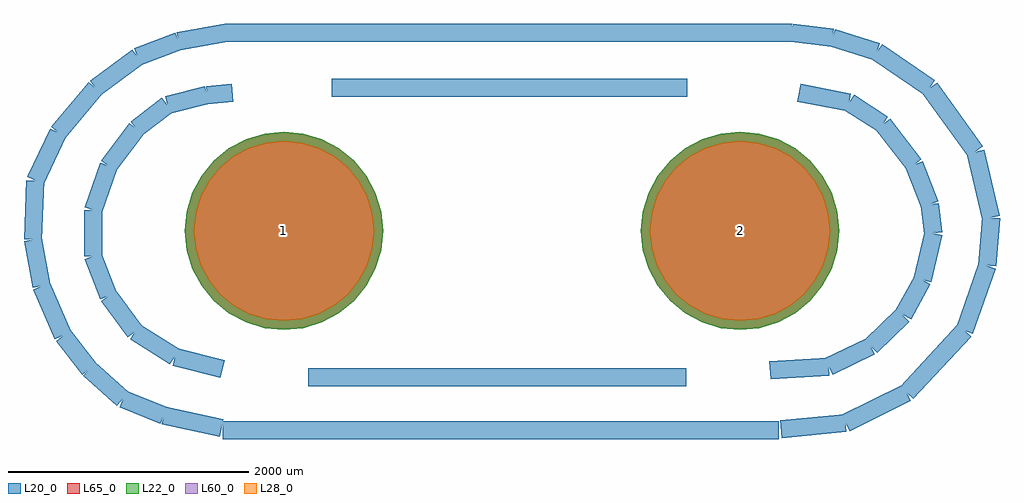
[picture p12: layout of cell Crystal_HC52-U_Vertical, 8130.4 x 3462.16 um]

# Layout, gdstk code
import gdstk
lib = gdstk.Library(unit=1e-6, precision=1e-09)
def P(c, l, *ps):  # polygons
    for p in ps: c.add(gdstk.Polygon(p, *l))
L20_0 = (20, 0)
L22_0 = (22, 0)
L28_0 = (28, 0)
L60_0 = (60, 0)
L65_0 = (65, 0)

crystal_hc52_u_vertical = lib.new_cell('Crystal_HC52-U_Vertical')
P(crystal_hc52_u_vertical, L22_0, [(2725.49,0),(2709.627,161.061),(2662.647,315.932),(2586.356,458.662),(2483.686,583.766),(2358.582,686.436),(2215.852,762.727),(2060.981,809.707),(1899.92,825.57),(1738.859,809.707),(1583.988,762.727),(1441.258,686.436),(1316.154,583.766),(1213.484,458.662),(1137.193,315.932),(1090.213,161.061),(1074.35,0),(1090.213,-161.061),(1137.193,-315.932),(1213.484,-458.662),(1316.154,-583.766),(1441.258,-686.436),(1583.988,-762.727),(1738.859,-809.707),(1899.92,-825.57),(2060.981,-809.707),(2215.852,-762.727),(2358.582,-686.436),(2483.686,-583.766),(2586.356,-458.662),(2662.647,-315.932),(2709.627,-161.061)],
  [(-1074.35,0),(-1090.213,161.061),(-1137.193,315.932),(-1213.484,458.662),(-1316.154,583.766),(-1441.258,686.436),(-1583.988,762.727),(-1738.859,809.707),(-1899.92,825.57),(-2060.981,809.707),(-2215.852,762.727),(-2358.582,686.436),(-2483.686,583.766),(-2586.356,458.662),(-2662.647,315.932),(-2709.627,161.061),(-2725.49,0),(-2709.627,-161.061),(-2662.647,-315.932),(-2586.356,-458.662),(-2483.686,-583.766),(-2358.582,-686.436),(-2215.852,-762.727),(-2060.981,-809.707),(-1899.92,-825.57),(-1738.859,-809.707),(-1583.988,-762.727),(-1441.258,-686.436),(-1316.154,-583.766),(-1213.484,-458.662),(-1137.193,-315.932),(-1090.213,-161.061)])
P(crystal_hc52_u_vertical, L28_0, [(2650.49,0),(2636.068,146.429),(2593.356,287.231),(2523.996,416.994),(2430.653,530.733),(2316.914,624.076),(2187.151,693.436),(2046.349,736.148),(1899.92,750.57),(1753.491,736.148),(1612.689,693.436),(1482.926,624.076),(1369.187,530.733),(1275.844,416.994),(1206.484,287.231),(1163.772,146.429),(1149.35,0),(1163.772,-146.429),(1206.484,-287.231),(1275.844,-416.994),(1369.187,-530.733),(1482.926,-624.076),(1612.689,-693.436),(1753.491,-736.148),(1899.92,-750.57),(2046.349,-736.148),(2187.151,-693.436),(2316.914,-624.076),(2430.653,-530.733),(2523.996,-416.994),(2593.356,-287.231),(2636.068,-146.429)],
  [(-1149.35,0),(-1163.772,146.429),(-1206.484,287.231),(-1275.844,416.994),(-1369.187,530.733),(-1482.926,624.076),(-1612.689,693.436),(-1753.491,736.148),(-1899.92,750.57),(-2046.349,736.148),(-2187.151,693.436),(-2316.914,624.076),(-2430.653,530.733),(-2523.996,416.994),(-2593.356,287.231),(-2636.068,146.429),(-2650.49,0),(-2636.068,-146.429),(-2593.356,-287.231),(-2523.996,-416.994),(-2430.653,-530.733),(-2316.914,-624.076),(-2187.151,-693.436),(-2046.349,-736.148),(-1899.92,-750.57),(-1753.491,-736.148),(-1612.689,-693.436),(-1482.926,-624.076),(-1369.187,-530.733),(-1275.844,-416.994),(-1206.484,-287.231),(-1163.772,-146.429)])
P(crystal_hc52_u_vertical, L60_0, [(2650.49,0),(2636.068,146.429),(2593.356,287.231),(2523.996,416.994),(2430.653,530.733),(2316.914,624.076),(2187.151,693.436),(2046.349,736.148),(1899.92,750.57),(1753.491,736.148),(1612.689,693.436),(1482.926,624.076),(1369.187,530.733),(1275.844,416.994),(1206.484,287.231),(1163.772,146.429),(1149.35,0),(1163.772,-146.429),(1206.484,-287.231),(1275.844,-416.994),(1369.187,-530.733),(1482.926,-624.076),(1612.689,-693.436),(1753.491,-736.148),(1899.92,-750.57),(2046.349,-736.148),(2187.151,-693.436),(2316.914,-624.076),(2430.653,-530.733),(2523.996,-416.994),(2593.356,-287.231),(2636.068,-146.429)],
  [(-1149.35,0),(-1163.772,146.429),(-1206.484,287.231),(-1275.844,416.994),(-1369.187,530.733),(-1482.926,624.076),(-1612.689,693.436),(-1753.491,736.148),(-1899.92,750.57),(-2046.349,736.148),(-2187.151,693.436),(-2316.914,624.076),(-2430.653,530.733),(-2523.996,416.994),(-2593.356,287.231),(-2636.068,146.429),(-2650.49,0),(-2636.068,-146.429),(-2593.356,-287.231),(-2523.996,-416.994),(-2430.653,-530.733),(-2316.914,-624.076),(-2187.151,-693.436),(-2046.349,-736.148),(-1899.92,-750.57),(-1753.491,-736.148),(-1612.689,-693.436),(-1482.926,-624.076),(-1369.187,-530.733),(-1275.844,-416.994),(-1206.484,-287.231),(-1163.772,-146.429)])
P(crystal_hc52_u_vertical, L65_0, [(2725.49,0),(2709.627,161.061),(2662.647,315.932),(2586.356,458.662),(2483.686,583.766),(2358.582,686.436),(2215.852,762.727),(2060.981,809.707),(1899.92,825.57),(1738.859,809.707),(1583.988,762.727),(1441.258,686.436),(1316.154,583.766),(1213.484,458.662),(1137.193,315.932),(1090.213,161.061),(1074.35,0),(1090.213,-161.061),(1137.193,-315.932),(1213.484,-458.662),(1316.154,-583.766),(1441.258,-686.436),(1583.988,-762.727),(1738.859,-809.707),(1899.92,-825.57),(2060.981,-809.707),(2215.852,-762.727),(2358.582,-686.436),(2483.686,-583.766),(2586.356,-458.662),(2662.647,-315.932),(2709.627,-161.061)],
  [(-1074.35,0),(-1090.213,161.061),(-1137.193,315.932),(-1213.484,458.662),(-1316.154,583.766),(-1441.258,686.436),(-1583.988,762.727),(-1738.859,809.707),(-1899.92,825.57),(-2060.981,809.707),(-2215.852,762.727),(-2358.582,686.436),(-2483.686,583.766),(-2586.356,458.662),(-2662.647,315.932),(-2709.627,161.061),(-2725.49,0),(-2709.627,-161.061),(-2662.647,-315.932),(-2586.356,-458.662),(-2483.686,-583.766),(-2358.582,-686.436),(-2215.852,-762.727),(-2060.981,-809.707),(-1899.92,-825.57),(-1738.859,-809.707),(-1583.988,-762.727),(-1441.258,-686.436),(-1316.154,-583.766),(-1213.484,-458.662),(-1137.193,-315.932),(-1090.213,-161.061)])
crystal_hc52_u_vertical.add(gdstk.FlexPath([(-2778.76,1579.88),(-2379.98,1651)], 149.998, ends="flush", simple_path=True, layer=20, datatype=0))  # L20_0
crystal_hc52_u_vertical.add(gdstk.FlexPath([(-3119.12,1450.34),(-2778.76,1579.88)], 149.998, ends="flush", simple_path=True, layer=20, datatype=0))  # L20_0
crystal_hc52_u_vertical.add(gdstk.FlexPath([(-3469.64,1191.26),(-3119.12,1450.34)], 149.998, ends="flush", simple_path=True, layer=20, datatype=0))  # L20_0
crystal_hc52_u_vertical.add(gdstk.FlexPath([(-3779.52,820.42),(-3469.64,1191.26)], 149.998, ends="flush", simple_path=True, layer=20, datatype=0))  # L20_0
crystal_hc52_u_vertical.add(gdstk.FlexPath([(-3970.02,419.1),(-3779.52,820.42)], 149.998, ends="flush", simple_path=True, layer=20, datatype=0))  # L20_0
crystal_hc52_u_vertical.add(gdstk.FlexPath([(-3990.34,-71.12),(-3970.02,419.1)], 149.998, ends="flush", simple_path=True, layer=20, datatype=0))  # L20_0
crystal_hc52_u_vertical.add(gdstk.FlexPath([(-3919.22,-459.74),(-3990.34,-71.12)], 149.998, ends="flush", simple_path=True, layer=20, datatype=0))  # L20_0
crystal_hc52_u_vertical.add(gdstk.FlexPath([(-3738.88,-871.22),(-3919.22,-459.74)], 149.998, ends="flush", simple_path=True, layer=20, datatype=0))  # L20_0
crystal_hc52_u_vertical.add(gdstk.FlexPath([(-3520.44,-1150.62),(-3738.88,-871.22)], 149.998, ends="flush", simple_path=True, layer=20, datatype=0))  # L20_0
crystal_hc52_u_vertical.add(gdstk.FlexPath([(-3241.04,-1399.54),(-3520.44,-1150.62)], 149.998, ends="flush", simple_path=True, layer=20, datatype=0))  # L20_0
crystal_hc52_u_vertical.add(gdstk.FlexPath([(-2900.68,-1539.24),(-3241.04,-1399.54)], 149.998, ends="flush", simple_path=True, layer=20, datatype=0))  # L20_0
crystal_hc52_u_vertical.add(gdstk.FlexPath([(-2420.62,-1640.84),(-2900.68,-1539.24)], 149.998, ends="flush", simple_path=True, layer=20, datatype=0))  # L20_0
crystal_hc52_u_vertical.add(gdstk.FlexPath([(2778.76,-1600.2),(2240.28,-1651)], 149.998, ends="flush", simple_path=True, layer=20, datatype=0))  # L20_0
crystal_hc52_u_vertical.add(gdstk.FlexPath([(3289.3,-1348.74),(2778.76,-1600.2)], 149.998, ends="flush", simple_path=True, layer=20, datatype=0))  # L20_0
crystal_hc52_u_vertical.add(gdstk.FlexPath([(3769.36,-830.58),(3289.3,-1348.74)], 149.998, ends="flush", simple_path=True, layer=20, datatype=0))  # L20_0
crystal_hc52_u_vertical.add(gdstk.FlexPath([(3959.86,-289.56),(3769.36,-830.58)], 149.998, ends="flush", simple_path=True, layer=20, datatype=0))  # L20_0
crystal_hc52_u_vertical.add(gdstk.FlexPath([(3990.34,109.22),(3959.86,-289.56)], 149.998, ends="flush", simple_path=True, layer=20, datatype=0))  # L20_0
crystal_hc52_u_vertical.add(gdstk.FlexPath([(3860.8,660.4),(3990.34,109.22)], 149.998, ends="flush", simple_path=True, layer=20, datatype=0))  # L20_0
crystal_hc52_u_vertical.add(gdstk.FlexPath([(3479.8,1191.26),(3860.8,660.4)], 149.998, ends="flush", simple_path=True, layer=20, datatype=0))  # L20_0
crystal_hc52_u_vertical.add(gdstk.FlexPath([(3040.38,1490.98),(3479.8,1191.26)], 149.998, ends="flush", simple_path=True, layer=20, datatype=0))  # L20_0
crystal_hc52_u_vertical.add(gdstk.FlexPath([(2669.54,1610.36),(3040.38,1490.98)], 149.998, ends="flush", simple_path=True, layer=20, datatype=0))  # L20_0
crystal_hc52_u_vertical.add(gdstk.FlexPath([(2329.18,1651),(2669.54,1610.36)], 149.998, ends="flush", simple_path=True, layer=20, datatype=0))  # L20_0
crystal_hc52_u_vertical.add(gdstk.FlexPath([(-2390.14,1651),(2329.18,1651)], 149.998, ends="flush", simple_path=True, layer=20, datatype=0))  # L20_0
crystal_hc52_u_vertical.add(gdstk.FlexPath([(-2540,1130.3),(-2329.18,1150.62)], 149.998, ends="flush", simple_path=True, layer=20, datatype=0))  # L20_0
crystal_hc52_u_vertical.add(gdstk.FlexPath([(-2870.2,1049.02),(-2540,1130.3)], 149.998, ends="flush", simple_path=True, layer=20, datatype=0))  # L20_0
crystal_hc52_u_vertical.add(gdstk.FlexPath([(-3129.28,850.9),(-2870.2,1049.02)], 149.998, ends="flush", simple_path=True, layer=20, datatype=0))  # L20_0
crystal_hc52_u_vertical.add(gdstk.FlexPath([(-3360.42,541.02),(-3129.28,850.9)], 149.998, ends="flush", simple_path=True, layer=20, datatype=0))  # L20_0
crystal_hc52_u_vertical.add(gdstk.FlexPath([(-3489.96,170.18),(-3360.42,541.02)], 149.998, ends="flush", simple_path=True, layer=20, datatype=0))  # L20_0
crystal_hc52_u_vertical.add(gdstk.FlexPath([(-3489.96,-210.82),(-3489.96,170.18)], 149.998, ends="flush", simple_path=True, layer=20, datatype=0))  # L20_0
crystal_hc52_u_vertical.add(gdstk.FlexPath([(-3360.42,-541.02),(-3489.96,-210.82)], 149.998, ends="flush", simple_path=True, layer=20, datatype=0))  # L20_0
crystal_hc52_u_vertical.add(gdstk.FlexPath([(-3139.44,-840.74),(-3360.42,-541.02)], 149.998, ends="flush", simple_path=True, layer=20, datatype=0))  # L20_0
crystal_hc52_u_vertical.add(gdstk.FlexPath([(-2809.24,-1049.02),(-3139.44,-840.74)], 149.998, ends="flush", simple_path=True, layer=20, datatype=0))  # L20_0
crystal_hc52_u_vertical.add(gdstk.FlexPath([(-2410.46,-1150.62),(-2809.24,-1049.02)], 149.998, ends="flush", simple_path=True, layer=20, datatype=0))  # L20_0
crystal_hc52_u_vertical.add(gdstk.FlexPath([(2639.06,-1130.3),(2148.84,-1160.78)], 149.998, ends="flush", simple_path=True, layer=20, datatype=0))  # L20_0
crystal_hc52_u_vertical.add(gdstk.FlexPath([(2989.58,-960.12),(2639.06,-1130.3)], 149.998, ends="flush", simple_path=True, layer=20, datatype=0))  # L20_0
crystal_hc52_u_vertical.add(gdstk.FlexPath([(3258.82,-701.04),(2989.58,-960.12)], 149.998, ends="flush", simple_path=True, layer=20, datatype=0))  # L20_0
crystal_hc52_u_vertical.add(gdstk.FlexPath([(3418.84,-408.94),(3258.82,-701.04)], 149.998, ends="flush", simple_path=True, layer=20, datatype=0))  # L20_0
crystal_hc52_u_vertical.add(gdstk.FlexPath([(3510.28,-20.32),(3418.84,-408.94)], 149.998, ends="flush", simple_path=True, layer=20, datatype=0))  # L20_0
crystal_hc52_u_vertical.add(gdstk.FlexPath([(3479.8,220.98),(3510.28,-20.32)], 149.998, ends="flush", simple_path=True, layer=20, datatype=0))  # L20_0
crystal_hc52_u_vertical.add(gdstk.FlexPath([(3350.26,551.18),(3479.8,220.98)], 149.998, ends="flush", simple_path=True, layer=20, datatype=0))  # L20_0
crystal_hc52_u_vertical.add(gdstk.FlexPath([(3091.18,889),(3350.26,551.18)], 149.998, ends="flush", simple_path=True, layer=20, datatype=0))  # L20_0
crystal_hc52_u_vertical.add(gdstk.FlexPath([(2809.24,1069.34),(3091.18,889)], 149.998, ends="flush", simple_path=True, layer=20, datatype=0))  # L20_0
crystal_hc52_u_vertical.add(gdstk.FlexPath([(2390.14,1150.62),(2809.24,1069.34)], 149.998, ends="flush", simple_path=True, layer=20, datatype=0))  # L20_0
crystal_hc52_u_vertical.add(gdstk.FlexPath([(-1699.26,-1219.2),(1450.34,-1219.2)], 149.998, ends="flush", simple_path=True, layer=20, datatype=0))  # L20_0
crystal_hc52_u_vertical.add(gdstk.FlexPath([(2219.96,-1661.16),(-2410.46,-1661.16)], 149.998, ends="flush", simple_path=True, layer=20, datatype=0))  # L20_0
crystal_hc52_u_vertical.add(gdstk.FlexPath([(1460.5,1191.26),(-1501.14,1191.26)], 149.998, ends="flush", simple_path=True, layer=20, datatype=0))  # L20_0
crystal_hc52_u_vertical.add(gdstk.Label('2', (1899.92,0), layer=28, texttype=0))
crystal_hc52_u_vertical.add(gdstk.Label('1', (-1899.92,0), layer=28, texttype=0))
crystal_hc52_u_vertical.add(gdstk.Label('type', (0,-3810), layer=9, texttype=0))
crystal_hc52_u_vertical.add(gdstk.Label('devicename', (0,3810), layer=9, texttype=0))

lib.write_gds('Crystal_HC52-U_Vertical.gds')
